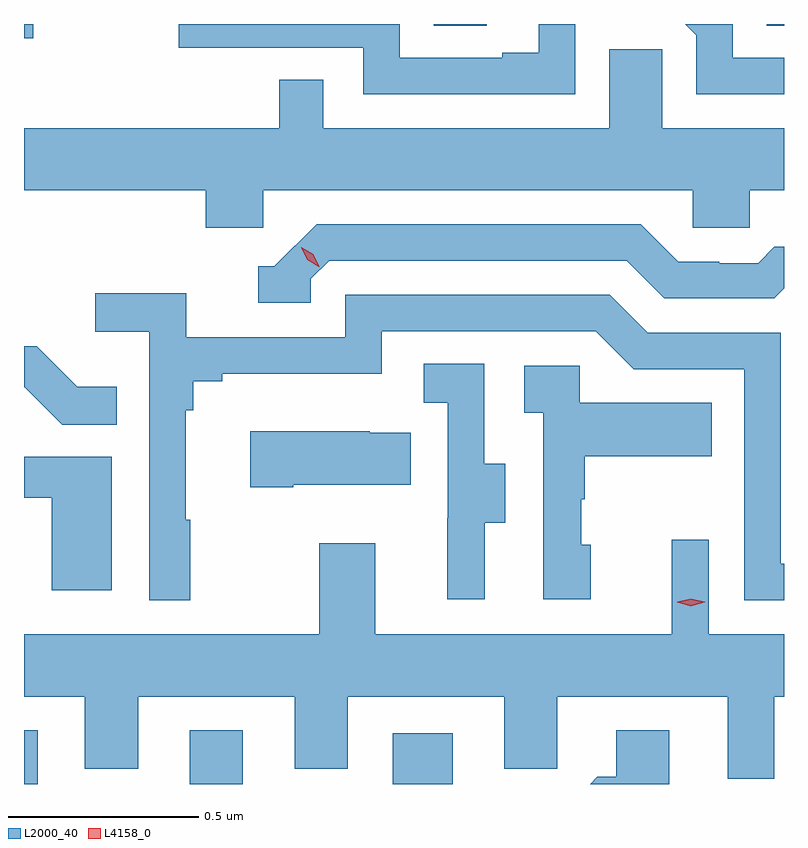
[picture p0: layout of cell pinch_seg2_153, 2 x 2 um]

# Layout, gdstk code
import gdstk
lib = gdstk.Library(unit=1e-6, precision=1e-09)
def R(c, l, rs):  # rectangles x0, y0, x1, y1
    for r in rs: c.add(gdstk.rectangle(r[:2], r[2:], *l))
def P(c, l, *ps):  # polygons
    for p in ps: c.add(gdstk.Polygon(p, *l))
L2000_40 = (2000, 40)
L4158_0 = (4158, 0)

pinch_seg2_153 = lib.new_cell('pinch_seg2_153')
R(pinch_seg2_153, L2000_40, [(1100.557,635.418,1100.593,635.56), (1100.993,635.418,1101.133,635.56), (1101.527,635.418,1101.685,635.551), (1100.557,637.38,1100.581,637.418), (1101.635,637.414,1101.775,637.418), (1102.511,637.414,1102.557,637.418)])
P(pinch_seg2_153, L2000_40, [(1102.557,637.329),(1102.422,637.329),(1102.422,637.418),(1102.297,637.418),(1102.326,637.389),(1102.326,637.233),(1102.557,637.233)],
  [(1102.008,637.418),(1101.911,637.418),(1101.911,637.342),(1101.815,637.342),(1101.815,637.329),(1101.546,637.329),(1101.546,637.418),(1100.964,637.418),(1100.964,637.356),(1101.45,637.356),(1101.45,637.233),(1102.008,637.233)],
  [(1101.186,636.98),(1102.317,636.98),(1102.317,636.882),(1102.467,636.882),(1102.467,636.98),(1102.557,636.98),(1102.557,637.144),(1102.236,637.144),(1102.236,637.352),(1102.097,637.352),(1102.097,637.144),(1101.345,637.144),(1101.345,637.271),(1101.229,637.271),(1101.229,637.144),(1100.557,637.144),(1100.557,636.98),(1101.035,636.98),(1101.035,636.882),(1101.186,636.882)],
  [(1101.312,636.747),(1101.36,636.795),(1102.143,636.795),(1102.242,636.696),(1102.531,636.696),(1102.557,636.722),(1102.557,636.832),(1102.531,636.832),(1102.489,636.789),(1102.386,636.789),(1102.386,636.792),(1102.279,636.792),(1102.18,636.891),(1101.327,636.891),(1101.216,636.78),(1101.173,636.78),(1101.173,636.684),(1101.312,636.684)],
  [(1100.995,636.113),(1100.983,636.113),(1100.983,636.401),(1101.002,636.401),(1101.002,636.478),(1101.079,636.478),(1101.079,636.497),(1101.498,636.497),(1101.498,636.609),(1102.062,636.609),(1102.161,636.51),(1102.452,636.51),(1102.452,635.901),(1102.557,635.901),(1102.557,635.997),(1102.548,635.997),(1102.548,636.606),(1102.198,636.606),(1102.099,636.705),(1101.402,636.705),(1101.402,636.594),(1100.984,636.594),(1100.984,636.71),(1100.745,636.71),(1100.745,636.608),(1100.886,636.608),(1100.886,635.901),(1100.995,635.901)],
  [(1100.801,636.463),(1100.697,636.463),(1100.59,636.57),(1100.557,636.57),(1100.557,636.462),(1100.559,636.462),(1100.657,636.364),(1100.801,636.364)],
  [(1101.769,636.106),(1101.823,636.106),(1101.823,636.261),(1101.768,636.261),(1101.768,636.524),(1101.609,636.524),(1101.609,636.421),(1101.672,636.421),(1101.672,636.117),(1101.671,636.117),(1101.671,635.904),(1101.769,635.904)],
  [(1102.048,636.048),(1102.023,636.048),(1102.023,636.167),(1102.033,636.167),(1102.033,636.281),(1102.367,636.281),(1102.367,636.421),(1102.02,636.421),(1102.02,636.519),(1101.873,636.519),(1101.873,636.395),(1101.924,636.395),(1101.924,635.904),(1102.048,635.904)],
  [(1101.265,636.206),(1101.575,636.206),(1101.575,636.343),(1101.467,636.343),(1101.467,636.346),(1101.153,636.346),(1101.153,636.199),(1101.265,636.199)],
  [(1100.788,636.279),(1100.557,636.279),(1100.557,636.171),(1100.63,636.171),(1100.63,635.928),(1100.788,635.928)],
  [(1102.531,635.648),(1102.557,635.648),(1102.557,635.812),(1102.359,635.812),(1102.359,636.061),(1102.262,636.061),(1102.262,635.812),(1101.481,635.812),(1101.481,636.052),(1101.334,636.052),(1101.334,635.812),(1100.557,635.812),(1100.557,635.648),(1100.717,635.648),(1100.717,635.458),(1100.857,635.458),(1100.857,635.648),(1101.269,635.648),(1101.269,635.458),(1101.409,635.458),(1101.409,635.648),(1101.821,635.648),(1101.821,635.458),(1101.96,635.458),(1101.96,635.648),(1102.409,635.648),(1102.409,635.432),(1102.531,635.432)],
  [(1102.255,635.56),(1102.115,635.56),(1102.115,635.437),(1102.066,635.437),(1102.047,635.418),(1102.255,635.418)])
P(pinch_seg2_153, L4158_0, [(1101.333,636.779),(1101.303,636.798),(1101.287,636.831),(1101.287,636.831),(1101.287,636.831),(1101.318,636.812),(1101.334,636.779),(1101.334,636.779)],
  [(1102.312,635.886),(1102.276,635.896),(1102.276,635.896),(1102.276,635.897),(1102.312,635.906),(1102.348,635.897),(1102.348,635.896),(1102.348,635.896)])

lib.write_gds('pinch_seg2_153.gds')
